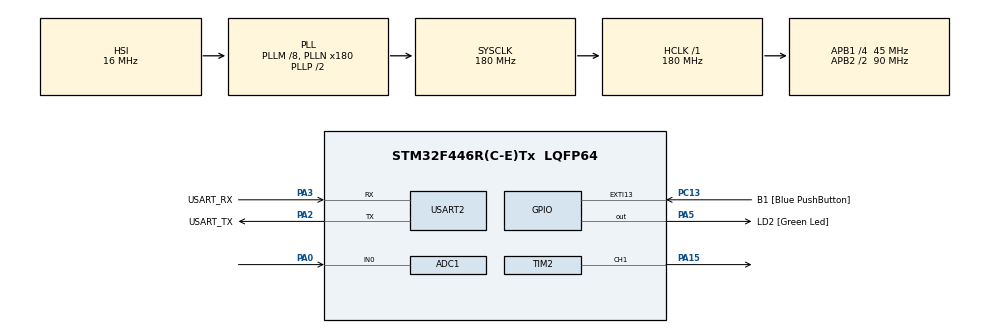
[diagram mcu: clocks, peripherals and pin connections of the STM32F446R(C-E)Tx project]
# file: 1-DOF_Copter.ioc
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ADC1.Channel-3\#ChannelRegularConversion=ADC_CHANNEL_0
ADC1.ExternalTrigConv=ADC_EXTERNALTRIGCONV_T3_TRGO
ADC1.NbrOfConversionFlag=1
ADC1.Rank-3\#ChannelRegularConversion=1
ADC1.SamplingTime-3\#ChannelRegularConversion=ADC_SAMPLETIME_3CYCLES
ADC1.master=1
Dma.Request0=USART2_TX
Dma.USART2_TX.0.Direction=DMA_MEMORY_TO_PERIPH
Dma.USART2_TX.0.FIFOMode=DMA_FIFOMODE_DISABLE
Dma.USART2_TX.0.Instance=DMA1_Stream6
Dma.USART2_TX.0.MemDataAlignment=DMA_MDATAALIGN_BYTE
Dma.USART2_TX.0.MemInc=DMA_MINC_ENABLE
Dma.USART2_TX.0.Mode=DMA_NORMAL
Dma.USART2_TX.0.PeriphDataAlignment=DMA_PDATAALIGN_BYTE
Dma.USART2_TX.0.PeriphInc=DMA_PINC_DISABLE
Dma.USART2_TX.0.Priority=DMA_PRIORITY_LOW
Mcu.Family=STM32F4
Mcu.Name=STM32F446R(C-E)Tx
Mcu.Package=LQFP64
NVIC.ADC_IRQn=true\:0\:0\:false\:false\:true\:true\:true\:true
NVIC.DMA1_Stream6_IRQn=true\:0\:0\:false\:false\:true\:false\:true\:true
NVIC.PriorityGroup=NVIC_PRIORITYGROUP_0
NVIC.TIM4_IRQn=true\:0\:0\:false\:false\:true\:true\:true\:true
NVIC.USART2_IRQn=true\:0\:0\:false\:false\:true\:true\:true\:true
PA0-WKUP.Signal=ADCx_IN0
PA13.GPIO_Label=TMS
PA13.Mode=Serial_Wire
PA13.Signal=SYS_JTMS-SWDIO
PA14.GPIO_Label=TCK
PA14.Mode=Serial_Wire
PA14.Signal=SYS_JTCK-SWCLK
PA15.Signal=S_TIM2_CH1_ETR
PA2.GPIO_Label=USART_TX
PA2.Mode=Asynchronous
PA2.Signal=USART2_TX
PA3.GPIO_Label=USART_RX
PA3.Mode=Asynchronous
PA3.Signal=USART2_RX
PA5.GPIO_Label=LD2 [Green Led]
PA5.Signal=GPIO_Output
PB3.GPIO_Label=SWO
PB3.Signal=SYS_JTDO-SWO
PC13.GPIO_Label=B1 [Blue PushButton]
PC13.GPIO_ModeDefaultEXTI=GPIO_MODE_IT_FALLING
PC13.Signal=GPXTI13
PC14-OSC32_IN.Mode=LSE-External-Oscillator
PC14-OSC32_IN.Signal=RCC_OSC32_IN
PC15-OSC32_OUT.Mode=LSE-External-Oscillator
PC15-OSC32_OUT.Signal=RCC_OSC32_OUT
PH0-OSC_IN.Mode=HSE-External-Oscillator
PH0-OSC_IN.Signal=RCC_OSC_IN
PH1-OSC_OUT.Mode=HSE-External-Oscillator
PH1-OSC_OUT.Signal=RCC_OSC_OUT
ProjectManager.HeapSize=0x200
ProjectManager.StackSize=0x400
ProjectManager.TargetToolchain=STM32CubeIDE
RCC.48MHZClocksFreq_Value=84000000
RCC.AHBFreq_Value=180000000
RCC.APB1CLKDivider=RCC_HCLK_DIV4
RCC.APB1Freq_Value=45000000
RCC.APB1TimFreq_Value=90000000
RCC.APB2CLKDivider=RCC_HCLK_DIV2
RCC.APB2Freq_Value=90000000
RCC.APB2TimFreq_Value=180000000
RCC.CortexFreq_Value=180000000
RCC.FLatency-AdvancedSettings=FLASH_LATENCY_5
RCC.HCLKFreq_Value=180000000
RCC.HSE_VALUE=8000000
RCC.HSI_VALUE=16000000
RCC.PLLM=8
RCC.PLLN=180
RCC.SYSCLKFreq_VALUE=180000000
RCC.SYSCLKSource=RCC_SYSCLKSOURCE_PLLCLK
RCC.USBFreq_Value=180000000
RCC.VCOOutputFreq_Value=360000000
SH.ADCx_IN0.0=ADC1_IN0,IN0
SH.S_TIM2_CH1_ETR.0=TIM2_CH1,PWM Generation1 CH1
TIM2.Channel-PWM\ Generation1\ CH1=TIM_CHANNEL_1
TIM2.Period=1799999
TIM3.AutoReloadPreload=TIM_AUTORELOAD_PRELOAD_DISABLE
TIM3.Period=1999
TIM3.Prescaler=899
TIM3.TIM_MasterOutputTrigger=TIM_TRGO_UPDATE
TIM3.TIM_MasterSlaveMode=TIM_MASTERSLAVEMODE_DISABLE
TIM4.Period=39999
TIM4.Prescaler=17999
USART2.VirtualMode=VM_ASYNC
VP_TIM2_VS_ClockSourceINT.Mode=Internal
VP_TIM3_VS_ClockSourceINT.Mode=Internal
VP_TIM4_VS_ClockSourceINT.Mode=Internal
board=NUCLEO-F446RE

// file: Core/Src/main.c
/* USER CODE BEGIN Header */
/**
  ******************************************************************************
  * @file           : main.c
  * @brief          : Main program body
  ******************************************************************************
  * @attention
  *
  * Copyright (c) 2026 STMicroelectronics.
  * All rights reserved.
  *
  * This software is licensed under terms that can be found in the LICENSE file
  * in the root directory of this software component.
  * If no LICENSE file comes with this software, it is provided AS-IS.
  *
  ******************************************************************************
  */
/* USER CODE END Header */
#include "main.h"

/* USER CODE BEGIN Includes */
#include "serial.h"
#include "stdlib.h"
#include "control.h"
/* USER CODE END Includes */

ADC_HandleTypeDef hadc1;

TIM_HandleTypeDef htim2;
TIM_HandleTypeDef htim3;
TIM_HandleTypeDef htim4;

UART_HandleTypeDef huart2;
DMA_HandleTypeDef hdma_usart2_tx;

void SystemClock_Config(void);
static void MX_GPIO_Init(void);
static void MX_DMA_Init(void);
static void MX_USART2_UART_Init(void);
static void MX_TIM2_Init(void);
static void MX_ADC1_Init(void);
static void MX_TIM3_Init(void);
static void MX_TIM4_Init(void);

/* USER CODE BEGIN 0 */
#define REFERENCE_LOW 70.0f
#define REFERENCE_HIGH 90.0f

volatile bool testFlag = false;
volatile bool referenceHigh = false;

static uint16_t adcValue;
volatile bool flag = false;

void HAL_ADC_ConvCpltCallback(ADC_HandleTypeDef *hadc)
{
	if(hadc == &hadc1){
		adcValue = (uint16_t)HAL_ADC_GetValue(&hadc1);
		setMeasured(control, map(adcValue, 125, 630, 45, 90)); // Sensor Data (Angle)
		//control->setpoint = 80;
		/*
		 * set Setpoint
		 * set Error
		 * Update PIDOutput
		 * Clamp Output
		 * Reset Windup
		 */
		computeError(control);
		if (flag == true){
			computePID(control);
			setOutput(control, clamp(control->output, 400, 0));
			__HAL_TIM_SET_COMPARE(&htim2, TIM_CHANNEL_1, WritePWM(control, getOutput(control)));
			updatePID(control);
		}

		SerialSendPlot4(control->measured, control->output, control->error + 120, control->setpoint);
		/*
		 * output gain = 330/1000
		 * 1. angulo pote
		 * 2. salida PWM
		 * 3. error
		 * 4. setpoint
		 */
	}
}

/* USER CODE END 0 */

int main(void)
{

  /* MCU Configuration--------------------------------------------------------*/

  /* Reset of all peripherals, Initializes the Flash interface and the Systick. */
  HAL_Init();

  /* Configure the system clock */
  SystemClock_Config();

  /* Initialize all configured peripherals */
  MX_GPIO_Init();
  MX_DMA_Init();
  MX_USART2_UART_Init();
  MX_TIM2_Init();
  MX_ADC1_Init();
  MX_TIM3_Init();
  MX_TIM4_Init();
  /* USER CODE BEGIN 2 */
  controlInit(control, 0, 0, 0, 0, 0, 0, 0, 0, 0, 0, 0, 316, 316);
  updateCoefficients();

  //controlInit(control, 0.67159, 0.32841, 121.35,  -230.99,  109.85, 0, 0, 0, 316, 0, 0, 316, 316);
  HAL_ADC_Start_IT(&hadc1);
  HAL_TIM_Base_Start(&htim3);

  HAL_TIM_PWM_Start(&htim2, TIM_CHANNEL_1);
  __HAL_TIM_SET_COMPARE(&htim2, TIM_CHANNEL_1, 90000);
  serialInit(&huart2);

  /* USER CODE END 2 */

  /* Infinite loop */
  /* USER CODE BEGIN WHILE */
  char command[32];
  while (1)
  {
    /* USER CODE END WHILE */

    /* USER CODE BEGIN 3 */
	  if (serialAvailable())
	  {
	      serialReadLine(command, sizeof(command));

	      uint16_t cmd = decodeGcode(command);

	      HAL_GPIO_TogglePin(GPIOA, GPIO_PIN_5);

	      switch (cmd)
	      {
	          case CMD_CL:
	              flag = true;
	              break;

	          case CMD_OL:
	              flag = false;
	              testFlag = false;
	              HAL_TIM_Base_Stop_IT(&htim4);

	              if (command[0] == 'O')
	              {
	                  int32_t value = atoi(&command[1]);

	                  setOutput(control, value);

	                  __HAL_TIM_SET_COMPARE(
	                      &htim2,
	                      TIM_CHANNEL_1,
	                      WritePWM(control, value)
	                  );
	              }

	              break;

	          case CMD_KP:
	        	  setKp(atof(&command[1]));
	              updateCoefficients();
	              break;

	          case CMD_KI:
	        	  setKi(atof(&command[1]));
	              updateCoefficients();
	              break;

	          case CMD_KD:
	        	  setKd(atof(&command[1]));
	              updateCoefficients();
	              break;

	          case CMD_R:
	        	  testFlag = false;
	        	  HAL_TIM_Base_Stop_IT(&htim4);
	        	  setSetpoint(control, atof(&command[1]));
	        	  break;

	          case CMD_STOP:
	              flag = false;
	              testFlag = false;
	              HAL_TIM_Base_Stop_IT(&htim4);
	              setOutput(control, 0);

	              __HAL_TIM_SET_COMPARE(
	                  &htim2,
	                  TIM_CHANNEL_1,
	                  WritePWM(control, 0)
	              );

	              break;
	          case CMD_TEST:

	              if (flag)
	              {
	                  HAL_TIM_Base_Stop_IT(&htim4);

	                  testFlag = true;
	                  referenceHigh = false;

	                  setSetpoint(control, REFERENCE_LOW);

	                  __HAL_TIM_SET_COUNTER(&htim4, 0);
	                  __HAL_TIM_CLEAR_FLAG(&htim4, TIM_FLAG_UPDATE);

	                  HAL_TIM_Base_Start_IT(&htim4);
	              }

	              break;

	          case CMD_NONE:
	          default:
	              break;
	      }
	  }
  }
  /* USER CODE END 3 */
}

void SystemClock_Config(void)
{
  RCC_OscInitTypeDef RCC_OscInitStruct = {0};
  RCC_ClkInitTypeDef RCC_ClkInitStruct = {0};

  /** Configure the main internal regulator output voltage
  */
  __HAL_RCC_PWR_CLK_ENABLE();
  __HAL_PWR_VOLTAGESCALING_CONFIG(PWR_REGULATOR_VOLTAGE_SCALE1);

  /** Initializes the RCC Oscillators according to the specified parameters
  * in the RCC_OscInitTypeDef structure.
  */
  RCC_OscInitStruct.OscillatorType = RCC_OSCILLATORTYPE_HSI;
  RCC_OscInitStruct.HSIState = RCC_HSI_ON;
  RCC_OscInitStruct.HSICalibrationValue = RCC_HSICALIBRATION_DEFAULT;
  RCC_OscInitStruct.PLL.PLLState = RCC_PLL_ON;
  RCC_OscInitStruct.PLL.PLLSource = RCC_PLLSOURCE_HSI;
  RCC_OscInitStruct.PLL.PLLM = 8;
  RCC_OscInitStruct.PLL.PLLN = 180;
  RCC_OscInitStruct.PLL.PLLP = RCC_PLLP_DIV2;
  RCC_OscInitStruct.PLL.PLLQ = 2;
  RCC_OscInitStruct.PLL.PLLR = 2;
  if (HAL_RCC_OscConfig(&RCC_OscInitStruct) != HAL_OK)
  {
    Error_Handler();
  }

  /** Activate the Over-Drive mode
  */
  if (HAL_PWREx_EnableOverDrive() != HAL_OK)
  {
    Error_Handler();
  }

  /** Initializes the CPU, AHB and APB buses clocks
  */
  RCC_ClkInitStruct.ClockType = RCC_CLOCKTYPE_HCLK|RCC_CLOCKTYPE_SYSCLK
                              |RCC_CLOCKTYPE_PCLK1|RCC_CLOCKTYPE_PCLK2;
  RCC_ClkInitStruct.SYSCLKSource = RCC_SYSCLKSOURCE_PLLCLK;
  RCC_ClkInitStruct.AHBCLKDivider = RCC_SYSCLK_DIV1;
  RCC_ClkInitStruct.APB1CLKDivider = RCC_HCLK_DIV4;
  RCC_ClkInitStruct.APB2CLKDivider = RCC_HCLK_DIV2;

  if (HAL_RCC_ClockConfig(&RCC_ClkInitStruct, FLASH_LATENCY_5) != HAL_OK)
  {
    Error_Handler();
  }
}

static void MX_ADC1_Init(void)
{

  ADC_ChannelConfTypeDef sConfig = {0};

  /** Configure the global features of the ADC (Clock, Resolution, Data Alignment and number of conversion)
  */
  hadc1.Instance = ADC1;
  hadc1.Init.ClockPrescaler = ADC_CLOCK_SYNC_PCLK_DIV4;
  hadc1.Init.Resolution = ADC_RESOLUTION_12B;
  hadc1.Init.ScanConvMode = DISABLE;
  hadc1.Init.ContinuousConvMode = DISABLE;
  hadc1.Init.DiscontinuousConvMode = DISABLE;
  hadc1.Init.ExternalTrigConvEdge = ADC_EXTERNALTRIGCONVEDGE_RISING;
  hadc1.Init.ExternalTrigConv = ADC_EXTERNALTRIGCONV_T3_TRGO;
  hadc1.Init.DataAlign = ADC_DATAALIGN_RIGHT;
  hadc1.Init.NbrOfConversion = 1;
  hadc1.Init.DMAContinuousRequests = DISABLE;
  hadc1.Init.EOCSelection = ADC_EOC_SINGLE_CONV;
  if (HAL_ADC_Init(&hadc1) != HAL_OK)
  {
    Error_Handler();
  }

  /** Configure for the selected ADC regular channel its corresponding rank in the sequencer and its sample time.
  */
  sConfig.Channel = ADC_CHANNEL_0;
  sConfig.Rank = 1;
  sConfig.SamplingTime = ADC_SAMPLETIME_3CYCLES;
  if (HAL_ADC_ConfigChannel(&hadc1, &sConfig) != HAL_OK)
  {
    Error_Handler();
  }

}

static void MX_TIM2_Init(void)
{

  TIM_ClockConfigTypeDef sClockSourceConfig = {0};
  TIM_MasterConfigTypeDef sMasterConfig = {0};
  TIM_OC_InitTypeDef sConfigOC = {0};

  htim2.Instance = TIM2;
  htim2.Init.Prescaler = 0;
  htim2.Init.CounterMode = TIM_COUNTERMODE_UP;
  htim2.Init.Period = 1799999;
  htim2.Init.ClockDivision = TIM_CLOCKDIVISION_DIV1;
  htim2.Init.AutoReloadPreload = TIM_AUTORELOAD_PRELOAD_DISABLE;
  if (HAL_TIM_Base_Init(&htim2) != HAL_OK)
  {
    Error_Handler();
  }
  sClockSourceConfig.ClockSource = TIM_CLOCKSOURCE_INTERNAL;
  if (HAL_TIM_ConfigClockSource(&htim2, &sClockSourceConfig) != HAL_OK)
  {
    Error_Handler();
  }
  if (HAL_TIM_PWM_Init(&htim2) != HAL_OK)
  {
    Error_Handler();
  }
  sMasterConfig.MasterOutputTrigger = TIM_TRGO_RESET;
  sMasterConfig.MasterSlaveMode = TIM_MASTERSLAVEMODE_DISABLE;
  if (HAL_TIMEx_MasterConfigSynchronization(&htim2, &sMasterConfig) != HAL_OK)
  {
    Error_Handler();
  }
  sConfigOC.OCMode = TIM_OCMODE_PWM1;
  sConfigOC.Pulse = 0;
  sConfigOC.OCPolarity = TIM_OCPOLARITY_HIGH;
  sConfigOC.OCFastMode = TIM_OCFAST_DISABLE;
  if (HAL_TIM_PWM_ConfigChannel(&htim2, &sConfigOC, TIM_CHANNEL_1) != HAL_OK)
  {
    Error_Handler();
  }
  HAL_TIM_MspPostInit(&htim2);

}

static void MX_TIM3_Init(void)
{

  TIM_ClockConfigTypeDef sClockSourceConfig = {0};
  TIM_MasterConfigTypeDef sMasterConfig = {0};

  htim3.Instance = TIM3;
  htim3.Init.Prescaler = 899;
  htim3.Init.CounterMode = TIM_COUNTERMODE_UP;
  htim3.Init.Period = 1999;
  htim3.Init.ClockDivision = TIM_CLOCKDIVISION_DIV1;
  htim3.Init.AutoReloadPreload = TIM_AUTORELOAD_PRELOAD_DISABLE;
  if (HAL_TIM_Base_Init(&htim3) != HAL_OK)
  {
    Error_Handler();
  }
  sClockSourceConfig.ClockSource = TIM_CLOCKSOURCE_INTERNAL;
  if (HAL_TIM_ConfigClockSource(&htim3, &sClockSourceConfig) != HAL_OK)
  {
    Error_Handler();
  }
  sMasterConfig.MasterOutputTrigger = TIM_TRGO_UPDATE;
  sMasterConfig.MasterSlaveMode = TIM_MASTERSLAVEMODE_DISABLE;
  if (HAL_TIMEx_MasterConfigSynchronization(&htim3, &sMasterConfig) != HAL_OK)
  {
    Error_Handler();
  }

}

static void MX_TIM4_Init(void)
{

  TIM_ClockConfigTypeDef sClockSourceConfig = {0};
  TIM_MasterConfigTypeDef sMasterConfig = {0};

  htim4.Instance = TIM4;
  htim4.Init.Prescaler = 17999;
  htim4.Init.CounterMode = TIM_COUNTERMODE_UP;
  htim4.Init.Period = 39999;
  htim4.Init.ClockDivision = TIM_CLOCKDIVISION_DIV1;
  htim4.Init.AutoReloadPreload = TIM_AUTORELOAD_PRELOAD_DISABLE;
  if (HAL_TIM_Base_Init(&htim4) != HAL_OK)
  {
    Error_Handler();
  }
  sClockSourceConfig.ClockSource = TIM_CLOCKSOURCE_INTERNAL;
  if (HAL_TIM_ConfigClockSource(&htim4, &sClockSourceConfig) != HAL_OK)
  {
    Error_Handler();
  }
  sMasterConfig.MasterOutputTrigger = TIM_TRGO_RESET;
  sMasterConfig.MasterSlaveMode = TIM_MASTERSLAVEMODE_DISABLE;
  if (HAL_TIMEx_MasterConfigSynchronization(&htim4, &sMasterConfig) != HAL_OK)
  {
    Error_Handler();
  }

}

static void MX_USART2_UART_Init(void)
{

  huart2.Instance = USART2;
  huart2.Init.BaudRate = 115200;
  huart2.Init.WordLength = UART_WORDLENGTH_8B;
  huart2.Init.StopBits = UART_STOPBITS_1;
  huart2.Init.Parity = UART_PARITY_NONE;
  huart2.Init.Mode = UART_MODE_TX_RX;
  huart2.Init.HwFlowCtl = UART_HWCONTROL_NONE;
  huart2.Init.OverSampling = UART_OVERSAMPLING_16;
  if (HAL_UART_Init(&huart2) != HAL_OK)
  {
    Error_Handler();
  }

}

static void MX_DMA_Init(void)
{

  /* DMA controller clock enable */
  __HAL_RCC_DMA1_CLK_ENABLE();

  /* DMA interrupt init */
  /* DMA1_Stream6_IRQn interrupt configuration */
  HAL_NVIC_SetPriority(DMA1_Stream6_IRQn, 0, 0);
  HAL_NVIC_EnableIRQ(DMA1_Stream6_IRQn);

}

static void MX_GPIO_Init(void)
{
  GPIO_InitTypeDef GPIO_InitStruct = {0};

  /* GPIO Ports Clock Enable */
  __HAL_RCC_GPIOC_CLK_ENABLE();
  __HAL_RCC_GPIOH_CLK_ENABLE();
  __HAL_RCC_GPIOA_CLK_ENABLE();
  __HAL_RCC_GPIOB_CLK_ENABLE();

  /*Configure GPIO pin Output Level */
  HAL_GPIO_WritePin(LD2_GPIO_Port, LD2_Pin, GPIO_PIN_RESET);

  /*Configure GPIO pin : B1_Pin */
  GPIO_InitStruct.Pin = B1_Pin;
  GPIO_InitStruct.Mode = GPIO_MODE_IT_FALLING;
  GPIO_InitStruct.Pull = GPIO_NOPULL;
  HAL_GPIO_Init(B1_GPIO_Port, &GPIO_InitStruct);

  /*Configure GPIO pin : LD2_Pin */
  GPIO_InitStruct.Pin = LD2_Pin;
  GPIO_InitStruct.Mode = GPIO_MODE_OUTPUT_PP;
  GPIO_InitStruct.Pull = GPIO_NOPULL;
  GPIO_InitStruct.Speed = GPIO_SPEED_FREQ_LOW;
  HAL_GPIO_Init(LD2_GPIO_Port, &GPIO_InitStruct);

}

/* USER CODE BEGIN 4 */

void HAL_TIM_PeriodElapsedCallback(TIM_HandleTypeDef *htim) //logica de interrupción de los timers
{
    if (htim->Instance == TIM4)
    {
        if (testFlag && flag)
        {
            referenceHigh = !referenceHigh;

            if (referenceHigh)
            {
                setSetpoint(control, REFERENCE_HIGH);
            }
            else
            {
                setSetpoint(control, REFERENCE_LOW);
            }
        }
    }
}

/* USER CODE END 4 */

void Error_Handler(void)
{
  __disable_irq();
  while (1)
  {
  }
}
